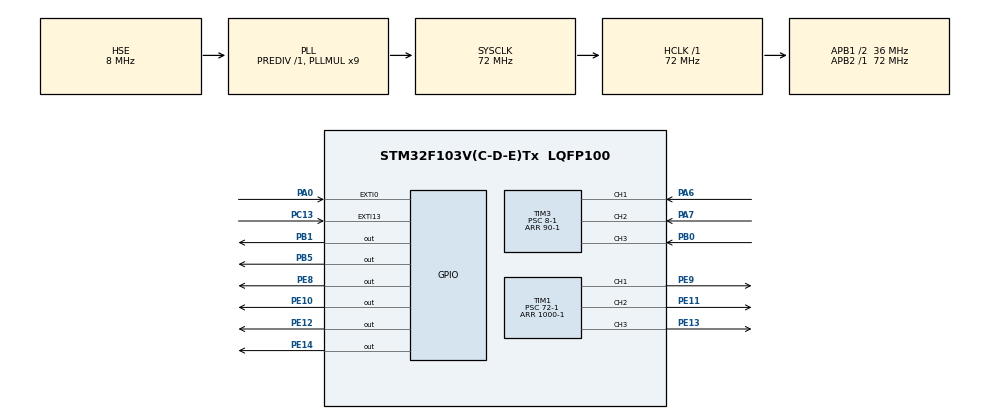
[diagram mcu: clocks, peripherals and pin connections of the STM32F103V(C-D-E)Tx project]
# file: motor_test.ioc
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Mcu.Family=STM32F1
Mcu.Name=STM32F103V(C-D-E)Tx
Mcu.Package=LQFP100
NVIC.EXTI0_IRQn=true\:0\:0\:false\:false\:true\:true\:true\:true
NVIC.EXTI15_10_IRQn=true\:0\:0\:false\:false\:true\:true\:true\:true
NVIC.PriorityGroup=NVIC_PRIORITYGROUP_4
NVIC.TIM1_UP_IRQn=true\:0\:0\:false\:false\:true\:true\:true\:true
OSC_IN.Mode=HSE-External-Oscillator
OSC_IN.Signal=RCC_OSC_IN
OSC_OUT.Mode=HSE-External-Oscillator
OSC_OUT.Signal=RCC_OSC_OUT
PA0-WKUP.GPIO_ModeDefaultEXTI=GPIO_MODE_IT_RISING
PA0-WKUP.Signal=GPXTI0
PA13.Mode=Serial_Wire
PA13.Signal=SYS_JTMS-SWDIO
PA14.Mode=Serial_Wire
PA14.Signal=SYS_JTCK-SWCLK
PA6.Signal=S_TIM3_CH1
PA7.Signal=S_TIM3_CH2
PB0.Signal=S_TIM3_CH3
PB1.GPIO_PuPd=GPIO_NOPULL
PB1.GPIO_Speed=GPIO_SPEED_FREQ_MEDIUM
PB1.PinState=GPIO_PIN_SET
PB1.Signal=GPIO_Output
PB5.GPIO_Speed=GPIO_SPEED_FREQ_MEDIUM
PB5.PinState=GPIO_PIN_SET
PB5.Signal=GPIO_Output
PC13-TAMPER-RTC.GPIO_ModeDefaultEXTI=GPIO_MODE_IT_RISING
PC13-TAMPER-RTC.Signal=GPXTI13
PE10.GPIO_Speed=GPIO_SPEED_FREQ_HIGH
PE10.Signal=GPIO_Output
PE11.GPIO_Speed=GPIO_SPEED_FREQ_HIGH
PE11.Signal=S_TIM1_CH2
PE12.GPIO_Speed=GPIO_SPEED_FREQ_HIGH
PE12.Signal=GPIO_Output
PE13.GPIO_Speed=GPIO_SPEED_FREQ_HIGH
PE13.Signal=S_TIM1_CH3
PE14.GPIO_Speed=GPIO_SPEED_FREQ_HIGH
PE14.Signal=GPIO_Output
PE8.GPIO_ModeDefaultOutputPP=GPIO_MODE_OUTPUT_PP
PE8.GPIO_PuPd=GPIO_PULLUP
PE8.GPIO_Speed=GPIO_SPEED_FREQ_MEDIUM
PE8.PinState=GPIO_PIN_SET
PE8.Signal=GPIO_Output
PE9.GPIO_Speed=GPIO_SPEED_FREQ_HIGH
PE9.Signal=S_TIM1_CH1
ProjectManager.HeapSize=0x200
ProjectManager.StackSize=0x400
ProjectManager.TargetToolchain=STM32CubeIDE
RCC.AHBFreq_Value=72000000
RCC.APB1CLKDivider=RCC_HCLK_DIV2
RCC.APB1Freq_Value=36000000
RCC.APB1TimFreq_Value=72000000
RCC.APB2Freq_Value=72000000
RCC.APB2TimFreq_Value=72000000
RCC.HCLKFreq_Value=72000000
RCC.PLLMUL=RCC_PLL_MUL9
RCC.PLLSourceVirtual=RCC_PLLSOURCE_HSE
RCC.SYSCLKFreq_VALUE=72000000
RCC.SYSCLKSource=RCC_SYSCLKSOURCE_PLLCLK
RCC.USBFreq_Value=72000000
SH.S_TIM1_CH1.0=TIM1_CH1,PWM Generation1 CH1
SH.S_TIM1_CH2.0=TIM1_CH2,PWM Generation2 CH2
SH.S_TIM1_CH3.0=TIM1_CH3,PWM Generation3 CH3
SH.S_TIM3_CH1.0=TIM3_CH1,Input_Capture1_from_TI1
SH.S_TIM3_CH2.0=TIM3_CH2,Input_Capture2_from_TI2
SH.S_TIM3_CH3.0=TIM3_CH3,Input_Capture3_from_TI3
TIM1.AutoReloadPreload=TIM_AUTORELOAD_PRELOAD_DISABLE
TIM1.AutomaticOutput=TIM_AUTOMATICOUTPUT_DISABLE
TIM1.BreakState=TIM_BREAK_DISABLE
TIM1.Channel-PWM\ Generation1\ CH1=TIM_CHANNEL_1
TIM1.Channel-PWM\ Generation2\ CH2=TIM_CHANNEL_2
TIM1.Channel-PWM\ Generation3\ CH3=TIM_CHANNEL_3
TIM1.OC1Preload_PWM=DISABLE
TIM1.OC2Preload_PWM=DISABLE
TIM1.OC3Preload_PWM=DISABLE
TIM1.OCIdleState_1=TIM_OCIDLESTATE_RESET
TIM1.Period=1000-1
TIM1.Prescaler=72-1
TIM1.Pulse-PWM\ Generation1\ CH1=0
TIM3.AutoReloadPreload=TIM_AUTORELOAD_PRELOAD_ENABLE
TIM3.Channel-Input_Capture1_from_TI1=TIM_CHANNEL_1
TIM3.Channel-Input_Capture2_from_TI2=TIM_CHANNEL_2
TIM3.Channel-Input_Capture3_from_TI3=TIM_CHANNEL_3
TIM3.Period=90-1
TIM3.Prescaler=8-1
VP_TIM1_VS_ClockSourceINT.Mode=Internal
VP_TIM3_VS_ClockSourceINT.Mode=Internal
board=custom

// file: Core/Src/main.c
/* USER CODE BEGIN Header */
/**
  ******************************************************************************
  * @file           : main.c
  * @brief          : Main program body
  ******************************************************************************
  * @attention
  *
  * Copyright (c) 2024 STMicroelectronics.
  * All rights reserved.
  *
  * This software is licensed under terms that can be found in the LICENSE file
  * in the root directory of this software component.
  * If no LICENSE file comes with this software, it is provided AS-IS.
  *
  ******************************************************************************
  */
/* USER CODE END Header */
#include "main.h"
#include "tim.h"
#include "gpio.h"

/* USER CODE BEGIN Includes */
#include "motor_control.h"
#include "key.h"
#include "led.h"
/* USER CODE END Includes */

/* USER CODE BEGIN PV */
uint16_t ccrValue;
/* USER CODE END PV */

void SystemClock_Config(void);

int main(void)
{

  /* MCU Configuration--------------------------------------------------------*/

  /* Reset of all peripherals, Initializes the Flash interface and the Systick. */
  HAL_Init();

  /* USER CODE BEGIN Init */
  KEY_Init();
  variables_init();
  /* USER CODE END Init */

  /* Configure the system clock */
  SystemClock_Config();

  /* Initialize all configured peripherals */
  MX_GPIO_Init();
  MX_TIM1_Init();
  MX_TIM3_Init();

  /* Infinite loop */
  while (1)
  {

    /* USER CODE BEGIN 3 */
	  if(keyFlag.key1_pressed)
	  {
		  keyFlag.key1_pressed = 0;
		  HAL_GPIO_TogglePin(LEDR_PORT, LEDR_PIN);
		  if(ccrValue >= MAX_CCR_LOAD)
		  {
			  ccrValue = MAX_CCR_LOAD;
		  }
		  else
		  {
			  if(ccrValue > 0)
			  {
				  g_bldc_motor.dir = 1;
			  }
			  ccrValue += 50;
		  }
		  g_bldc_motor.pwm_duty = ccrValue;
		  start_motor();
		  g_bldc_motor.runflag = 1;
	  }
	  if(keyFlag.key2_pressed)
	  {
		  keyFlag.key2_pressed = 0;
		  HAL_GPIO_TogglePin(LEDB_PORT, LEDB_PIN);
		  stop_motor();
		  g_bldc_motor.runflag = 0;
		  g_bldc_motor.pwm_duty = 0;
		  ccrValue = 0;
	  }
  }
  /* USER CODE END 3 */
}

void SystemClock_Config(void)
{
  RCC_OscInitTypeDef RCC_OscInitStruct = {0};
  RCC_ClkInitTypeDef RCC_ClkInitStruct = {0};

  /** Initializes the RCC Oscillators according to the specified parameters
  * in the RCC_OscInitTypeDef structure.
  */
  RCC_OscInitStruct.OscillatorType = RCC_OSCILLATORTYPE_HSE;
  RCC_OscInitStruct.HSEState = RCC_HSE_ON;
  RCC_OscInitStruct.HSEPredivValue = RCC_HSE_PREDIV_DIV1;
  RCC_OscInitStruct.HSIState = RCC_HSI_ON;
  RCC_OscInitStruct.PLL.PLLState = RCC_PLL_ON;
  RCC_OscInitStruct.PLL.PLLSource = RCC_PLLSOURCE_HSE;
  RCC_OscInitStruct.PLL.PLLMUL = RCC_PLL_MUL9;
  if (HAL_RCC_OscConfig(&RCC_OscInitStruct) != HAL_OK)
  {
    Error_Handler();
  }

  /** Initializes the CPU, AHB and APB buses clocks
  */
  RCC_ClkInitStruct.ClockType = RCC_CLOCKTYPE_HCLK|RCC_CLOCKTYPE_SYSCLK
                              |RCC_CLOCKTYPE_PCLK1|RCC_CLOCKTYPE_PCLK2;
  RCC_ClkInitStruct.SYSCLKSource = RCC_SYSCLKSOURCE_PLLCLK;
  RCC_ClkInitStruct.AHBCLKDivider = RCC_SYSCLK_DIV1;
  RCC_ClkInitStruct.APB1CLKDivider = RCC_HCLK_DIV2;
  RCC_ClkInitStruct.APB2CLKDivider = RCC_HCLK_DIV1;

  if (HAL_RCC_ClockConfig(&RCC_ClkInitStruct, FLASH_LATENCY_2) != HAL_OK)
  {
    Error_Handler();
  }
}

/* USER CODE BEGIN 4 */
void variables_init(void)
{
	ccrValue = 0;
}
/* USER CODE END 4 */

void Error_Handler(void)
{
  __disable_irq();
  while (1)
  {
  }
}
